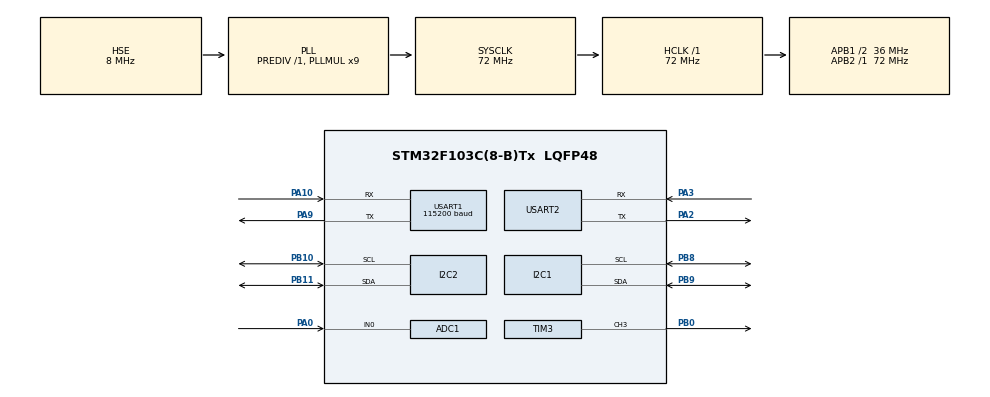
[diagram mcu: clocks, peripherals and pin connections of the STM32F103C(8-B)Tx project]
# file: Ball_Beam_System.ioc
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ADC1.Channel-2\#ChannelRegularConversion=ADC_CHANNEL_0
ADC1.ContinuousConvMode=ENABLE
ADC1.NbrOfConversionFlag=1
ADC1.Rank-2\#ChannelRegularConversion=1
ADC1.SamplingTime-2\#ChannelRegularConversion=ADC_SAMPLETIME_1CYCLE_5
ADC1.master=1
Dma.Request0=USART1_TX
Dma.Request1=USART1_RX
Dma.USART1_RX.1.Direction=DMA_PERIPH_TO_MEMORY
Dma.USART1_RX.1.Instance=DMA1_Channel5
Dma.USART1_RX.1.MemDataAlignment=DMA_MDATAALIGN_BYTE
Dma.USART1_RX.1.MemInc=DMA_MINC_ENABLE
Dma.USART1_RX.1.Mode=DMA_NORMAL
Dma.USART1_RX.1.PeriphDataAlignment=DMA_PDATAALIGN_BYTE
Dma.USART1_RX.1.PeriphInc=DMA_PINC_DISABLE
Dma.USART1_RX.1.Priority=DMA_PRIORITY_LOW
Dma.USART1_TX.0.Direction=DMA_MEMORY_TO_PERIPH
Dma.USART1_TX.0.Instance=DMA1_Channel4
Dma.USART1_TX.0.MemDataAlignment=DMA_MDATAALIGN_BYTE
Dma.USART1_TX.0.MemInc=DMA_MINC_ENABLE
Dma.USART1_TX.0.Mode=DMA_NORMAL
Dma.USART1_TX.0.PeriphDataAlignment=DMA_PDATAALIGN_BYTE
Dma.USART1_TX.0.PeriphInc=DMA_PINC_DISABLE
Dma.USART1_TX.0.Priority=DMA_PRIORITY_LOW
I2C2.I2C_Mode=I2C_Fast
Mcu.Family=STM32F1
Mcu.Name=STM32F103C(8-B)Tx
Mcu.Package=LQFP48
NVIC.DMA1_Channel4_IRQn=true\:0\:0\:false\:false\:true\:false\:true\:true
NVIC.DMA1_Channel5_IRQn=true\:0\:0\:false\:false\:true\:false\:true\:true
NVIC.PriorityGroup=NVIC_PRIORITYGROUP_4
NVIC.USART1_IRQn=true\:0\:0\:false\:false\:true\:true\:true\:true
PA0-WKUP.Signal=ADCx_IN0
PA10.Mode=Asynchronous
PA10.Signal=USART1_RX
PA13.Mode=Serial_Wire
PA13.Signal=SYS_JTMS-SWDIO
PA14.Mode=Serial_Wire
PA14.Signal=SYS_JTCK-SWCLK
PA2.Mode=Asynchronous
PA2.Signal=USART2_TX
PA3.Mode=Asynchronous
PA3.Signal=USART2_RX
PA9.Mode=Asynchronous
PA9.Signal=USART1_TX
PB0.Signal=S_TIM3_CH3
PB10.Mode=I2C
PB10.Signal=I2C2_SCL
PB11.Mode=I2C
PB11.Signal=I2C2_SDA
PB8.Mode=I2C
PB8.Signal=I2C1_SCL
PB9.Mode=I2C
PB9.Signal=I2C1_SDA
PD0-OSC_IN.Mode=HSE-External-Oscillator
PD0-OSC_IN.Signal=RCC_OSC_IN
PD1-OSC_OUT.Mode=HSE-External-Oscillator
PD1-OSC_OUT.Signal=RCC_OSC_OUT
ProjectManager.HeapSize=0x200
ProjectManager.StackSize=0x400
ProjectManager.TargetToolchain=CMake
RCC.ADCPresc=RCC_ADCPCLK2_DIV6
RCC.AHBFreq_Value=72000000
RCC.APB1CLKDivider=RCC_HCLK_DIV2
RCC.APB1Freq_Value=36000000
RCC.APB1TimFreq_Value=72000000
RCC.APB2Freq_Value=72000000
RCC.APB2TimFreq_Value=72000000
RCC.HCLKFreq_Value=72000000
RCC.PLLMUL=RCC_PLL_MUL9
RCC.PLLSourceVirtual=RCC_PLLSOURCE_HSE
RCC.SYSCLKFreq_VALUE=72000000
RCC.SYSCLKSource=RCC_SYSCLKSOURCE_PLLCLK
RCC.USBFreq_Value=72000000
SH.ADCx_IN0.0=ADC1_IN0,IN0
SH.S_TIM3_CH3.0=TIM3_CH3,PWM Generation3 CH3
TIM2.Period=100-1
TIM2.Prescaler=7200-1
TIM3.Channel-PWM\ Generation3\ CH3=TIM_CHANNEL_3
TIM3.Period=60000-1
TIM3.Prescaler=24-1
USART1.BaudRate=115200
USART1.VirtualMode=VM_ASYNC
USART2.VirtualMode=VM_ASYNC
VP_TIM2_VS_ClockSourceINT.Mode=Internal
board=custom

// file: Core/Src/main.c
/* USER CODE BEGIN Header */
/**
  ******************************************************************************
  * @file           : main.c
  * @brief          : Main program body
  ******************************************************************************
  * @attention
  *
  * Copyright (c) 2026 STMicroelectronics.
  * All rights reserved.
  *
  * This software is licensed under terms that can be found in the LICENSE file
  * in the root directory of this software component.
  * If no LICENSE file comes with this software, it is provided AS-IS.
  *
  ******************************************************************************
  */
/* USER CODE END Header */
#include "main.h"

/* USER CODE BEGIN Includes */
/* 文件综述：
 * main.c 负责系统初始化与主循环调度：
 * - 完成外设初始化（GPIO/ADC/TIM/UART等）；
 * - 调用 AppRuntime 完成业务初始化；
 * - 周期调用 AppRuntime 执行控制逻辑。
 */
#include "app_runtime.h"
/* USER CODE END Includes */

ADC_HandleTypeDef hadc1;

I2C_HandleTypeDef hi2c1;
I2C_HandleTypeDef hi2c2;

TIM_HandleTypeDef htim2;
TIM_HandleTypeDef htim3;

UART_HandleTypeDef huart1;
UART_HandleTypeDef huart2;
DMA_HandleTypeDef hdma_usart1_tx;
DMA_HandleTypeDef hdma_usart1_rx;

/* USER CODE BEGIN PV */
static AppRuntime_t g_app_runtime;
/* USER CODE END PV */

void SystemClock_Config(void);
static void MX_GPIO_Init(void);
static void MX_DMA_Init(void);
static void MX_I2C1_Init(void);
static void MX_TIM2_Init(void);
static void MX_TIM3_Init(void);
static void MX_USART1_UART_Init(void);
static void MX_I2C2_Init(void);
static void MX_ADC1_Init(void);
static void MX_USART2_UART_Init(void);

int main(void)
{

  /* MCU Configuration--------------------------------------------------------*/

  /* Reset of all peripherals, Initializes the Flash interface and the Systick. */
  HAL_Init();

  /* Configure the system clock */
  SystemClock_Config();

  /* Initialize all configured peripherals */
  MX_GPIO_Init();
  MX_DMA_Init();
  MX_I2C1_Init();
  MX_TIM2_Init();
  MX_TIM3_Init();
  MX_USART1_UART_Init();
  MX_I2C2_Init();
  MX_ADC1_Init();
  MX_USART2_UART_Init();
  /* USER CODE BEGIN 2 */
  AppRuntime_Init(&g_app_runtime, &hadc1, &huart2);
  /* USER CODE END 2 */

  /* Infinite loop */
  while (1)
  {

    /* USER CODE BEGIN 3 */
    uint32_t now_ms = HAL_GetTick();
    AppRuntime_RunStep(&g_app_runtime, now_ms);
  }
  /* USER CODE END 3 */
}

void SystemClock_Config(void)
{
  RCC_OscInitTypeDef RCC_OscInitStruct = {0};
  RCC_ClkInitTypeDef RCC_ClkInitStruct = {0};
  RCC_PeriphCLKInitTypeDef PeriphClkInit = {0};

  /** Initializes the RCC Oscillators according to the specified parameters
  * in the RCC_OscInitTypeDef structure.
  */
  RCC_OscInitStruct.OscillatorType = RCC_OSCILLATORTYPE_HSE;
  RCC_OscInitStruct.HSEState = RCC_HSE_ON;
  RCC_OscInitStruct.HSEPredivValue = RCC_HSE_PREDIV_DIV1;
  RCC_OscInitStruct.HSIState = RCC_HSI_ON;
  RCC_OscInitStruct.PLL.PLLState = RCC_PLL_ON;
  RCC_OscInitStruct.PLL.PLLSource = RCC_PLLSOURCE_HSE;
  RCC_OscInitStruct.PLL.PLLMUL = RCC_PLL_MUL9;
  if (HAL_RCC_OscConfig(&RCC_OscInitStruct) != HAL_OK)
  {
    Error_Handler();
  }

  /** Initializes the CPU, AHB and APB buses clocks
  */
  RCC_ClkInitStruct.ClockType = RCC_CLOCKTYPE_HCLK|RCC_CLOCKTYPE_SYSCLK
                              |RCC_CLOCKTYPE_PCLK1|RCC_CLOCKTYPE_PCLK2;
  RCC_ClkInitStruct.SYSCLKSource = RCC_SYSCLKSOURCE_PLLCLK;
  RCC_ClkInitStruct.AHBCLKDivider = RCC_SYSCLK_DIV1;
  RCC_ClkInitStruct.APB1CLKDivider = RCC_HCLK_DIV2;
  RCC_ClkInitStruct.APB2CLKDivider = RCC_HCLK_DIV1;

  if (HAL_RCC_ClockConfig(&RCC_ClkInitStruct, FLASH_LATENCY_2) != HAL_OK)
  {
    Error_Handler();
  }
  PeriphClkInit.PeriphClockSelection = RCC_PERIPHCLK_ADC;
  PeriphClkInit.AdcClockSelection = RCC_ADCPCLK2_DIV6;
  if (HAL_RCCEx_PeriphCLKConfig(&PeriphClkInit) != HAL_OK)
  {
    Error_Handler();
  }
}

static void MX_ADC1_Init(void)
{

  ADC_ChannelConfTypeDef sConfig = {0};

  /** Common config
  */
  hadc1.Instance = ADC1;
  hadc1.Init.ScanConvMode = ADC_SCAN_DISABLE;
  hadc1.Init.ContinuousConvMode = ENABLE;
  hadc1.Init.DiscontinuousConvMode = DISABLE;
  hadc1.Init.ExternalTrigConv = ADC_SOFTWARE_START;
  hadc1.Init.DataAlign = ADC_DATAALIGN_RIGHT;
  hadc1.Init.NbrOfConversion = 1;
  if (HAL_ADC_Init(&hadc1) != HAL_OK)
  {
    Error_Handler();
  }

  /** Configure Regular Channel
  */
  sConfig.Channel = ADC_CHANNEL_0;
  sConfig.Rank = ADC_REGULAR_RANK_1;
  sConfig.SamplingTime = ADC_SAMPLETIME_1CYCLE_5;
  if (HAL_ADC_ConfigChannel(&hadc1, &sConfig) != HAL_OK)
  {
    Error_Handler();
  }

}

static void MX_I2C1_Init(void)
{

  hi2c1.Instance = I2C1;
  hi2c1.Init.ClockSpeed = 100000;
  hi2c1.Init.DutyCycle = I2C_DUTYCYCLE_2;
  hi2c1.Init.OwnAddress1 = 0;
  hi2c1.Init.AddressingMode = I2C_ADDRESSINGMODE_7BIT;
  hi2c1.Init.DualAddressMode = I2C_DUALADDRESS_DISABLE;
  hi2c1.Init.OwnAddress2 = 0;
  hi2c1.Init.GeneralCallMode = I2C_GENERALCALL_DISABLE;
  hi2c1.Init.NoStretchMode = I2C_NOSTRETCH_DISABLE;
  if (HAL_I2C_Init(&hi2c1) != HAL_OK)
  {
    Error_Handler();
  }

}

static void MX_I2C2_Init(void)
{

  hi2c2.Instance = I2C2;
  hi2c2.Init.ClockSpeed = 400000;
  hi2c2.Init.DutyCycle = I2C_DUTYCYCLE_2;
  hi2c2.Init.OwnAddress1 = 0;
  hi2c2.Init.AddressingMode = I2C_ADDRESSINGMODE_7BIT;
  hi2c2.Init.DualAddressMode = I2C_DUALADDRESS_DISABLE;
  hi2c2.Init.OwnAddress2 = 0;
  hi2c2.Init.GeneralCallMode = I2C_GENERALCALL_DISABLE;
  hi2c2.Init.NoStretchMode = I2C_NOSTRETCH_DISABLE;
  if (HAL_I2C_Init(&hi2c2) != HAL_OK)
  {
    Error_Handler();
  }

}

static void MX_TIM2_Init(void)
{

  TIM_ClockConfigTypeDef sClockSourceConfig = {0};
  TIM_MasterConfigTypeDef sMasterConfig = {0};

  htim2.Instance = TIM2;
  htim2.Init.Prescaler = 7200-1;
  htim2.Init.CounterMode = TIM_COUNTERMODE_UP;
  htim2.Init.Period = 100-1;
  htim2.Init.ClockDivision = TIM_CLOCKDIVISION_DIV1;
  htim2.Init.AutoReloadPreload = TIM_AUTORELOAD_PRELOAD_DISABLE;
  if (HAL_TIM_Base_Init(&htim2) != HAL_OK)
  {
    Error_Handler();
  }
  sClockSourceConfig.ClockSource = TIM_CLOCKSOURCE_INTERNAL;
  if (HAL_TIM_ConfigClockSource(&htim2, &sClockSourceConfig) != HAL_OK)
  {
    Error_Handler();
  }
  sMasterConfig.MasterOutputTrigger = TIM_TRGO_RESET;
  sMasterConfig.MasterSlaveMode = TIM_MASTERSLAVEMODE_DISABLE;
  if (HAL_TIMEx_MasterConfigSynchronization(&htim2, &sMasterConfig) != HAL_OK)
  {
    Error_Handler();
  }

}

static void MX_TIM3_Init(void)
{

  TIM_MasterConfigTypeDef sMasterConfig = {0};
  TIM_OC_InitTypeDef sConfigOC = {0};

  htim3.Instance = TIM3;
  htim3.Init.Prescaler = 24-1;
  htim3.Init.CounterMode = TIM_COUNTERMODE_UP;
  htim3.Init.Period = 60000-1;
  htim3.Init.ClockDivision = TIM_CLOCKDIVISION_DIV1;
  htim3.Init.AutoReloadPreload = TIM_AUTORELOAD_PRELOAD_DISABLE;
  if (HAL_TIM_PWM_Init(&htim3) != HAL_OK)
  {
    Error_Handler();
  }
  sMasterConfig.MasterOutputTrigger = TIM_TRGO_RESET;
  sMasterConfig.MasterSlaveMode = TIM_MASTERSLAVEMODE_DISABLE;
  if (HAL_TIMEx_MasterConfigSynchronization(&htim3, &sMasterConfig) != HAL_OK)
  {
    Error_Handler();
  }
  sConfigOC.OCMode = TIM_OCMODE_PWM1;
  sConfigOC.Pulse = 0;
  sConfigOC.OCPolarity = TIM_OCPOLARITY_HIGH;
  sConfigOC.OCFastMode = TIM_OCFAST_DISABLE;
  if (HAL_TIM_PWM_ConfigChannel(&htim3, &sConfigOC, TIM_CHANNEL_3) != HAL_OK)
  {
    Error_Handler();
  }
  HAL_TIM_MspPostInit(&htim3);

}

static void MX_USART1_UART_Init(void)
{

  huart1.Instance = USART1;
  huart1.Init.BaudRate = 115200;
  huart1.Init.WordLength = UART_WORDLENGTH_8B;
  huart1.Init.StopBits = UART_STOPBITS_1;
  huart1.Init.Parity = UART_PARITY_NONE;
  huart1.Init.Mode = UART_MODE_TX_RX;
  huart1.Init.HwFlowCtl = UART_HWCONTROL_NONE;
  huart1.Init.OverSampling = UART_OVERSAMPLING_16;
  if (HAL_UART_Init(&huart1) != HAL_OK)
  {
    Error_Handler();
  }

}

static void MX_USART2_UART_Init(void)
{

  huart2.Instance = USART2;
  huart2.Init.BaudRate = 115200;
  huart2.Init.WordLength = UART_WORDLENGTH_8B;
  huart2.Init.StopBits = UART_STOPBITS_1;
  huart2.Init.Parity = UART_PARITY_NONE;
  huart2.Init.Mode = UART_MODE_TX_RX;
  huart2.Init.HwFlowCtl = UART_HWCONTROL_NONE;
  huart2.Init.OverSampling = UART_OVERSAMPLING_16;
  if (HAL_UART_Init(&huart2) != HAL_OK)
  {
    Error_Handler();
  }

}

static void MX_DMA_Init(void)
{

  /* DMA controller clock enable */
  __HAL_RCC_DMA1_CLK_ENABLE();

  /* DMA interrupt init */
  /* DMA1_Channel4_IRQn interrupt configuration */
  HAL_NVIC_SetPriority(DMA1_Channel4_IRQn, 0, 0);
  HAL_NVIC_EnableIRQ(DMA1_Channel4_IRQn);
  /* DMA1_Channel5_IRQn interrupt configuration */
  HAL_NVIC_SetPriority(DMA1_Channel5_IRQn, 0, 0);
  HAL_NVIC_EnableIRQ(DMA1_Channel5_IRQn);

}

static void MX_GPIO_Init(void)
{
  GPIO_InitTypeDef GPIO_InitStruct = {0};

  /* GPIO Ports Clock Enable */
  __HAL_RCC_GPIOD_CLK_ENABLE();
  __HAL_RCC_GPIOA_CLK_ENABLE();
  __HAL_RCC_GPIOB_CLK_ENABLE();

  /* USER CODE BEGIN MX_GPIO_Init_2 */
  GPIO_InitStruct.Pin = APP_SETPOINT_BUTTON_PIN;
  GPIO_InitStruct.Mode = GPIO_MODE_INPUT;
  GPIO_InitStruct.Pull = GPIO_PULLUP;
  HAL_GPIO_Init(APP_SETPOINT_BUTTON_PORT, &GPIO_InitStruct);

  GPIO_InitStruct.Pin = APP_DETECTION_BUTTON_PIN;
  GPIO_InitStruct.Mode = GPIO_MODE_INPUT;
  GPIO_InitStruct.Pull = GPIO_PULLUP;
  HAL_GPIO_Init(APP_DETECTION_BUTTON_PORT, &GPIO_InitStruct);
  /* USER CODE END MX_GPIO_Init_2 */
}

/* USER CODE BEGIN 4 */
void HAL_TIM_PeriodElapsedCallback(TIM_HandleTypeDef *htim)
{
  (void)htim;
}
/* USER CODE END 4 */

void Error_Handler(void)
{
  __disable_irq();
  while (1)
  {
  }
}
